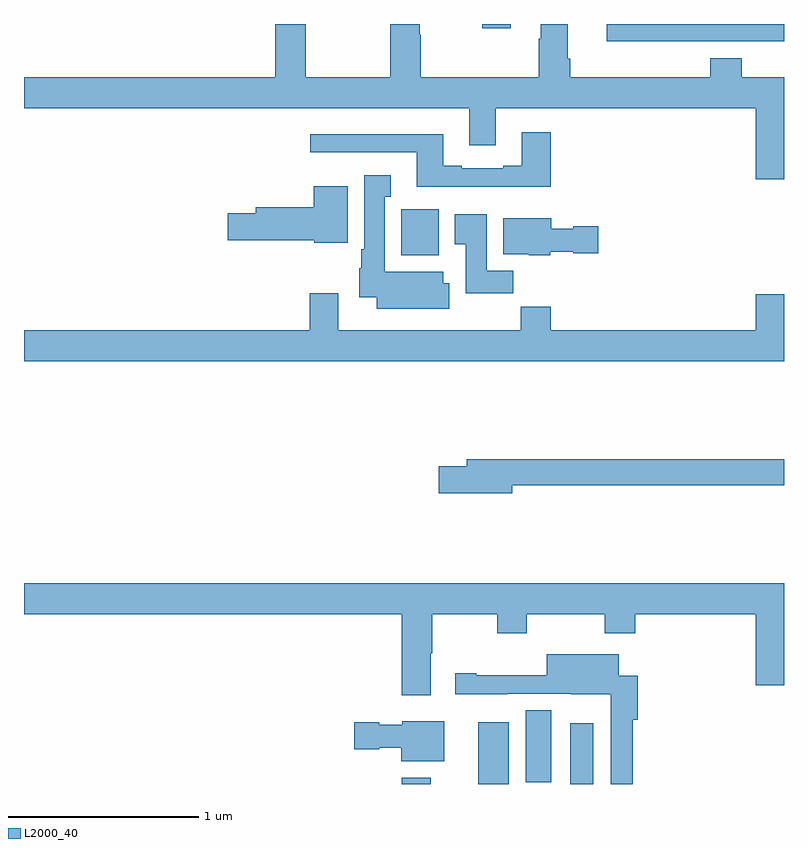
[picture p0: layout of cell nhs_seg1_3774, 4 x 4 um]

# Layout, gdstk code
import gdstk
lib = gdstk.Library(unit=1e-6, precision=1e-09)
def R(c, l, rs):  # rectangles x0, y0, x1, y1
    for r in rs: c.add(gdstk.rectangle(r[:2], r[2:], *l))
def P(c, l, *ps):  # polygons
    for p in ps: c.add(gdstk.Polygon(p, *l))
L2000_40 = (2000, 40)

nhs_seg1_3774 = lib.new_cell('nhs_seg1_3774')
R(nhs_seg1_3774, L2000_40, [(318.989,524.199,319.141,524.233), (319.391,524.199,319.552,524.524), (319.874,524.199,319.996,524.518), (319.64,524.208,319.774,524.588), (318.986,526.982,319.183,527.224), (319.413,528.177,319.561,528.199)])
P(nhs_seg1_3774, L2000_40, [(319.083,528.143),(319.083,528.199),(318.928,528.199),(318.928,527.92),(318.483,527.92),(318.483,528.199),(318.323,528.199),(318.323,527.92),(317,527.92),(317,527.756),(319.343,527.756),(319.343,527.562),(319.483,527.562),(319.483,527.756),(320.852,527.756),(320.852,527.382),(321,527.382),(321,527.92),(320.777,527.92),(320.777,528.019),(320.612,528.019),(320.612,527.92),(319.874,527.92),(319.874,528.016),(319.861,528.016),(319.861,528.199),(319.721,528.199),(319.721,528.122),(319.709,528.122),(319.709,527.92),(319.088,527.92),(319.088,528.143)],
  [(320.528,528.108),(321,528.108),(321,528.199),(320.066,528.199),(320.066,528.107),(320.528,528.107)],
  [(319.772,527.629),(319.619,527.629),(319.619,527.452),(319.523,527.452),(319.523,527.439),(319.303,527.439),(319.303,527.452),(319.207,527.452),(319.207,527.62),(318.507,527.62),(318.507,527.523),(319.067,527.523),(319.067,527.342),(319.772,527.342)],
  [(319.237,526.835),(319.207,526.835),(319.207,526.894),(318.898,526.894),(318.898,527.291),(318.931,527.291),(318.931,527.404),(318.791,527.404),(318.791,527.014),(318.776,527.014),(318.776,526.914),(318.764,526.914),(318.764,526.76),(318.857,526.76),(318.857,526.7),(319.237,526.7)],
  [(318.703,527.344),(318.524,527.344),(318.524,527.234),(318.221,527.234),(318.221,527.204),(318.072,527.204),(318.072,527.062),(318.528,527.062),(318.528,527.048),(318.703,527.048)],
  [(319.574,526.9),(319.435,526.9),(319.435,527.197),(319.268,527.197),(319.268,527.041),(319.325,527.041),(319.325,526.782),(319.574,526.782)],
  [(319.77,527),(319.89,527),(319.89,526.993),(320.023,526.993),(320.023,527.135),(319.89,527.135),(319.89,527.122),(319.774,527.122),(319.774,527.176),(319.523,527.176),(319.523,526.988),(319.656,526.988),(319.656,526.982),(319.77,526.982)],
  [(321,526.777),(320.852,526.777),(320.852,526.588),(319.772,526.588),(319.772,526.712),(319.615,526.712),(319.615,526.588),(318.655,526.588),(318.655,526.783),(318.503,526.783),(318.503,526.588),(317,526.588),(317,526.424),(321,526.424)],
  [(319.57,525.772),(321,525.772),(321,525.908),(319.331,525.908),(319.331,525.872),(319.182,525.872),(319.182,525.73),(319.57,525.73)],
  [(319.141,524.888),(319.149,524.888),(319.149,525.092),(319.492,525.092),(319.492,524.993),(319.647,524.993),(319.647,525.092),(320.056,525.092),(320.056,524.993),(320.216,524.993),(320.216,525.092),(320.852,525.092),(320.852,524.718),(321,524.718),(321,525.256),(317,525.256),(317,525.092),(318.989,525.092),(318.989,524.667),(319.141,524.667)],
  [(320.204,524.537),(320.231,524.537),(320.231,524.769),(320.131,524.769),(320.131,524.881),(319.751,524.881),(319.751,524.772),(319.381,524.772),(319.381,524.782),(319.269,524.782),(319.269,524.672),(319.544,524.672),(319.544,524.673),(319.878,524.673),(319.878,524.672),(320.088,524.672),(320.088,524.199),(320.204,524.199)],
  [(319.213,524.53),(318.99,524.53),(318.99,524.512),(318.87,524.512),(318.87,524.525),(318.738,524.525),(318.738,524.383),(318.87,524.383),(318.87,524.39),(318.986,524.39),(318.986,524.318),(319.213,524.318)])

lib.write_gds('nhs_seg1_3774.gds')
